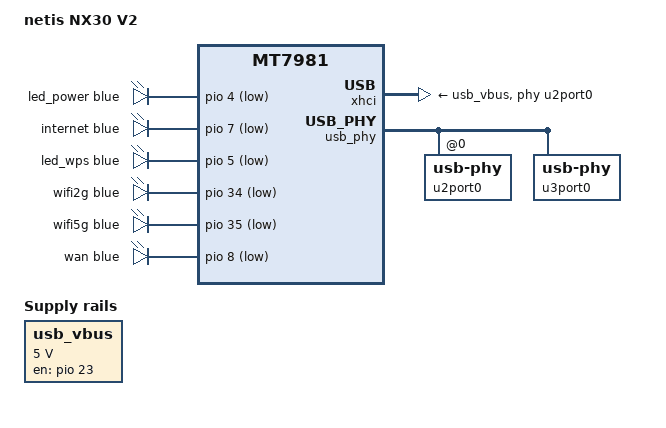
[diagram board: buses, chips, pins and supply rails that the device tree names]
/* SPDX-License-Identifier: (GPL-2.0-only OR MIT) */

/dts-v1/;
#include "mt7981b-netis-common.dtsi"

/ {
	model = "netis NX30 V2";
	compatible = "netis,nx30v2", "mediatek,mt7981";

	aliases {
		label-mac-device = &gmac0;
		led-boot = &led_power;
		led-failsafe = &led_power;
		led-running = &led_power;
		led-upgrade = &led_wps;
	};

	leds {
		compatible = "gpio-leds";

		led_power: power {
			color = <LED_COLOR_ID_BLUE>;
			function = LED_FUNCTION_POWER;
			gpios = <&pio 4 GPIO_ACTIVE_LOW>;
			default-state = "on";
		};

		internet {
			color = <LED_COLOR_ID_BLUE>;
			function = LED_FUNCTION_WAN_ONLINE;
			gpios = <&pio 7 GPIO_ACTIVE_LOW>;
		};

		led_wps: wps {
			color = <LED_COLOR_ID_BLUE>;
			function = LED_FUNCTION_WPS;
			gpios = <&pio 5 GPIO_ACTIVE_LOW>;
		};

		wifi2g {
			color = <LED_COLOR_ID_BLUE>;
			function = LED_FUNCTION_WLAN_2GHZ;
			gpios = <&pio 34 GPIO_ACTIVE_LOW>;
			linux,default-trigger = "phy0tpt";
		};

		wifi5g {
			color = <LED_COLOR_ID_BLUE>;
			function = LED_FUNCTION_WLAN_5GHZ;
			gpios = <&pio 35 GPIO_ACTIVE_LOW>;
			linux,default-trigger = "phy1tpt";
		};

		wan {
			color = <LED_COLOR_ID_BLUE>;
			function = LED_FUNCTION_WAN;
			gpios = <&pio 8 GPIO_ACTIVE_LOW>;
		};
	};

	usb_vbus: regulator-usb {
		compatible = "regulator-fixed";
		regulator-name = "usb-vbus";
		regulator-type = <1>;
		regulator-min-microvolt = <5000000>;
		regulator-max-microvolt = <5000000>;
		gpios = <&pio 23 GPIO_ACTIVE_HIGH>;
		enable-active-high;
		regulator-boot-on;
	};
};

&switch {
	ports {
		port@0 {
			reg = <1>;
			label = "lan1";
		};

		port@1 {
			reg = <2>;
			label = "lan2";
		};

		port@2 {
			reg = <3>;
			label = "lan3";
		};

		port@3 {
			reg = <4>;
			label = "lan4";
		};
	};
};

&u2port0 {
	status = "okay";
};

&u3port0 {
	status = "okay";
};

&xhci {
	compatible = "mediatek,mt7986-xhci", "mediatek,mtk-xhci";
	reg = <0 0x11200000 0 0x2e00>, <0 0x11203e00 0 0x0100>;
	reg-names = "mac", "ippc";
	interrupts = <GIC_SPI 173 IRQ_TYPE_LEVEL_HIGH>;
	clocks = <&infracfg CLK_INFRA_IUSB_SYS_CK>,
		 <&infracfg CLK_INFRA_IUSB_CK>,
		 <&infracfg CLK_INFRA_IUSB_133_CK>,
		 <&infracfg CLK_INFRA_IUSB_66M_CK>,
		 <&topckgen CLK_TOP_U2U3_XHCI_SEL>;
	clock-names = "sys_ck", "ref_ck", "mcu_ck", "dma_ck", "xhci_ck";
	phys = <&u2port0 PHY_TYPE_USB2>, <&u3port0 PHY_TYPE_USB3>;
	vbus-supply = <&usb_vbus>;
	status = "okay";
};

&usb_phy {
	status = "okay";

	u2port0: usb-phy@0 {
		reg = <0x0 0x700>;
		clocks = <&topckgen CLK_TOP_USB_FRMCNT_SEL>;
		clock-names = "ref";
		#phy-cells = <1>;
	};

	u3port0: usb-phy@700 {
		reg = <0x700 0x900>;
		clocks = <&topckgen CLK_TOP_USB3_PHY_SEL>;
		clock-names = "ref";
		#phy-cells = <1>;
		mediatek,syscon-type = <&topmisc 0x218 0>;
		status = "okay";
	};
};
